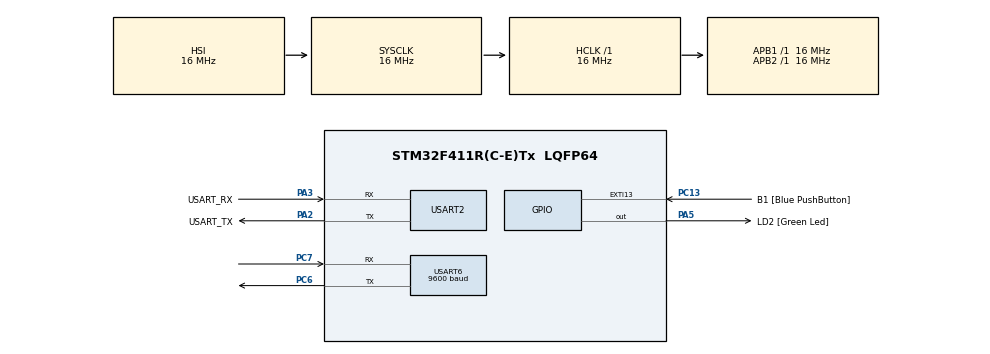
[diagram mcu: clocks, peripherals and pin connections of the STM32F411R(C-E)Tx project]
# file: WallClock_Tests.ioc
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Mcu.Family=STM32F4
Mcu.Name=STM32F411R(C-E)Tx
Mcu.Package=LQFP64
NVIC.PriorityGroup=NVIC_PRIORITYGROUP_0
NVIC.TIM5_IRQn=true\:0\:0\:false\:false\:true\:true\:true\:true
PA13.GPIO_Label=TMS
PA13.Mode=Serial_Wire
PA13.Signal=SYS_JTMS-SWDIO
PA14.GPIO_Label=TCK
PA14.Mode=Serial_Wire
PA14.Signal=SYS_JTCK-SWCLK
PA2.GPIO_Label=USART_TX
PA2.Mode=Asynchronous
PA2.Signal=USART2_TX
PA3.GPIO_Label=USART_RX
PA3.Mode=Asynchronous
PA3.Signal=USART2_RX
PA5.GPIO_Label=LD2 [Green Led]
PA5.Signal=GPIO_Output
PB3.GPIO_Label=SWO
PB3.Signal=SYS_JTDO-SWO
PC13-ANTI_TAMP.GPIO_Label=B1 [Blue PushButton]
PC13-ANTI_TAMP.GPIO_ModeDefaultEXTI=GPIO_MODE_IT_FALLING
PC13-ANTI_TAMP.Signal=GPXTI13
PC14-OSC32_IN.Mode=LSE-External-Oscillator
PC14-OSC32_IN.Signal=RCC_OSC32_IN
PC15-OSC32_OUT.Mode=LSE-External-Oscillator
PC15-OSC32_OUT.Signal=RCC_OSC32_OUT
PC6.Mode=Asynchronous
PC6.Signal=USART6_TX
PC7.Mode=Asynchronous
PC7.Signal=USART6_RX
PH0\ -\ OSC_IN.Mode=HSE-External-Clock-Source
PH0\ -\ OSC_IN.Signal=RCC_OSC_IN
PH1\ -\ OSC_OUT.Mode=HSE-External-Clock-Source
PH1\ -\ OSC_OUT.Signal=RCC_OSC_OUT
ProjectManager.HeapSize=0x200
ProjectManager.StackSize=0x400
ProjectManager.TargetToolchain=STM32CubeIDE
RCC.48MHZClocksFreq_Value=84000000
RCC.AHBFreq_Value=16000000
RCC.APB1Freq_Value=16000000
RCC.APB1TimFreq_Value=16000000
RCC.APB2Freq_Value=16000000
RCC.APB2TimFreq_Value=16000000
RCC.CortexFreq_Value=16000000
RCC.FLatency-AdvancedSettings=FLASH_LATENCY_0
RCC.HCLKFreq_Value=16000000
RCC.HSE_VALUE=8000000
RCC.HSI_VALUE=16000000
RCC.PLLN=336
RCC.PLLP=RCC_PLLP_DIV4
RCC.SYSCLKFreq_VALUE=16000000
RCC.VCOOutputFreq_Value=336000000
TIM5.AutoReloadPreload=TIM_AUTORELOAD_PRELOAD_ENABLE
TIM5.Period=59941-1
TIM5.Prescaler=53-1
USART2.VirtualMode=VM_ASYNC
USART6.BaudRate=9600
USART6.VirtualMode=VM_ASYNC
VP_TIM5_VS_ClockSourceINT.Mode=Internal
board=NUCLEO-F411RE

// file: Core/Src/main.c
/* USER CODE BEGIN Header */
/**
  ******************************************************************************
  * @file           : main.c
  * @brief          : Main program body
  ******************************************************************************
  * @attention
  *
  * Copyright (c) 2024 STMicroelectronics.
  * All rights reserved.
  *
  * This software is licensed under terms that can be found in the LICENSE file
  * in the root directory of this software component.
  * If no LICENSE file comes with this software, it is provided AS-IS.
  *
  ******************************************************************************
  */
/* USER CODE END Header */
#include "main.h"
#include <string.h>
#include <stdio.h>
uint8_t txd_message_buffer[64] = {0};

TIM_HandleTypeDef htim5;

UART_HandleTypeDef huart2;
UART_HandleTypeDef huart6;

/* USER CODE BEGIN PV */
uint8_t wall_clock_hr_update_flag = 0;
volatile uint8_t clock_hours = 0;
volatile uint8_t clock_mins = 0;
volatile uint8_t clock_secs = 0;
/* USER CODE END PV */

void SystemClock_Config(void);
static void MX_GPIO_Init(void);
static void MX_USART2_UART_Init(void);
static void MX_TIM5_Init(void);
static void MX_USART6_UART_Init(void);

int main(void)
{

  /* MCU Configuration--------------------------------------------------------*/

  /* Reset of all peripherals, Initializes the Flash interface and the Systick. */
  HAL_Init();

  /* Configure the system clock */
  SystemClock_Config();

  /* Initialize all configured peripherals */
  MX_GPIO_Init();
  MX_USART2_UART_Init();
  MX_TIM5_Init();
  MX_USART6_UART_Init();
  /* USER CODE BEGIN 2 */
  HAL_TIM_Base_Start_IT(&htim5);
  clock_hours = 0;
  clock_mins = 0;
  /* USER CODE END 2 */

  /* Infinite loop */
  /* USER CODE BEGIN WHILE */
  sprintf((char*)txd_message_buffer, "Clock Time \r\n");
  HAL_UART_Transmit(&huart6, txd_message_buffer, strlen((char*)txd_message_buffer), 1000);
  while (1)
  {
	  sprintf((char*)txd_message_buffer, "Hours Mins \r\n");
	  HAL_UART_Transmit(&huart6, txd_message_buffer, strlen((char*)txd_message_buffer), 1000);
	  sprintf((char*)txd_message_buffer, "%d : %d \r\n", clock_hours, clock_mins);
	  HAL_UART_Transmit(&huart6, txd_message_buffer, strlen((char*)txd_message_buffer), 1000);
	  HAL_Delay(1000);
    /* USER CODE END WHILE */

  }
}

void SystemClock_Config(void)
{
  RCC_OscInitTypeDef RCC_OscInitStruct = {0};
  RCC_ClkInitTypeDef RCC_ClkInitStruct = {0};

  /** Configure the main internal regulator output voltage
  */
  __HAL_RCC_PWR_CLK_ENABLE();
  __HAL_PWR_VOLTAGESCALING_CONFIG(PWR_REGULATOR_VOLTAGE_SCALE1);

  /** Initializes the RCC Oscillators according to the specified parameters
  * in the RCC_OscInitTypeDef structure.
  */
  RCC_OscInitStruct.OscillatorType = RCC_OSCILLATORTYPE_HSI;
  RCC_OscInitStruct.HSIState = RCC_HSI_ON;
  RCC_OscInitStruct.HSICalibrationValue = RCC_HSICALIBRATION_DEFAULT;
  RCC_OscInitStruct.PLL.PLLState = RCC_PLL_NONE;
  if (HAL_RCC_OscConfig(&RCC_OscInitStruct) != HAL_OK)
  {
    Error_Handler();
  }

  /** Initializes the CPU, AHB and APB buses clocks
  */
  RCC_ClkInitStruct.ClockType = RCC_CLOCKTYPE_HCLK|RCC_CLOCKTYPE_SYSCLK
                              |RCC_CLOCKTYPE_PCLK1|RCC_CLOCKTYPE_PCLK2;
  RCC_ClkInitStruct.SYSCLKSource = RCC_SYSCLKSOURCE_HSI;
  RCC_ClkInitStruct.AHBCLKDivider = RCC_SYSCLK_DIV1;
  RCC_ClkInitStruct.APB1CLKDivider = RCC_HCLK_DIV1;
  RCC_ClkInitStruct.APB2CLKDivider = RCC_HCLK_DIV1;

  if (HAL_RCC_ClockConfig(&RCC_ClkInitStruct, FLASH_LATENCY_0) != HAL_OK)
  {
    Error_Handler();
  }
}

static void MX_TIM5_Init(void)
{

  TIM_ClockConfigTypeDef sClockSourceConfig = {0};
  TIM_MasterConfigTypeDef sMasterConfig = {0};

  htim5.Instance = TIM5;
  htim5.Init.Prescaler = 53-1;
  htim5.Init.CounterMode = TIM_COUNTERMODE_UP;
  htim5.Init.Period = 59941-1;
  htim5.Init.ClockDivision = TIM_CLOCKDIVISION_DIV1;
  htim5.Init.AutoReloadPreload = TIM_AUTORELOAD_PRELOAD_ENABLE;
  if (HAL_TIM_Base_Init(&htim5) != HAL_OK)
  {
    Error_Handler();
  }
  sClockSourceConfig.ClockSource = TIM_CLOCKSOURCE_INTERNAL;
  if (HAL_TIM_ConfigClockSource(&htim5, &sClockSourceConfig) != HAL_OK)
  {
    Error_Handler();
  }
  sMasterConfig.MasterOutputTrigger = TIM_TRGO_RESET;
  sMasterConfig.MasterSlaveMode = TIM_MASTERSLAVEMODE_DISABLE;
  if (HAL_TIMEx_MasterConfigSynchronization(&htim5, &sMasterConfig) != HAL_OK)
  {
    Error_Handler();
  }

}

static void MX_USART2_UART_Init(void)
{

  huart2.Instance = USART2;
  huart2.Init.BaudRate = 115200;
  huart2.Init.WordLength = UART_WORDLENGTH_8B;
  huart2.Init.StopBits = UART_STOPBITS_1;
  huart2.Init.Parity = UART_PARITY_NONE;
  huart2.Init.Mode = UART_MODE_TX_RX;
  huart2.Init.HwFlowCtl = UART_HWCONTROL_NONE;
  huart2.Init.OverSampling = UART_OVERSAMPLING_16;
  if (HAL_UART_Init(&huart2) != HAL_OK)
  {
    Error_Handler();
  }

}

static void MX_USART6_UART_Init(void)
{

  huart6.Instance = USART6;
  huart6.Init.BaudRate = 9600;
  huart6.Init.WordLength = UART_WORDLENGTH_8B;
  huart6.Init.StopBits = UART_STOPBITS_1;
  huart6.Init.Parity = UART_PARITY_NONE;
  huart6.Init.Mode = UART_MODE_TX_RX;
  huart6.Init.HwFlowCtl = UART_HWCONTROL_NONE;
  huart6.Init.OverSampling = UART_OVERSAMPLING_16;
  if (HAL_UART_Init(&huart6) != HAL_OK)
  {
    Error_Handler();
  }

}

static void MX_GPIO_Init(void)
{
  GPIO_InitTypeDef GPIO_InitStruct = {0};

  /* GPIO Ports Clock Enable */
  __HAL_RCC_GPIOC_CLK_ENABLE();
  __HAL_RCC_GPIOH_CLK_ENABLE();
  __HAL_RCC_GPIOA_CLK_ENABLE();
  __HAL_RCC_GPIOB_CLK_ENABLE();

  /*Configure GPIO pin Output Level */
  HAL_GPIO_WritePin(LD2_GPIO_Port, LD2_Pin, GPIO_PIN_RESET);

  /*Configure GPIO pin : B1_Pin */
  GPIO_InitStruct.Pin = B1_Pin;
  GPIO_InitStruct.Mode = GPIO_MODE_IT_FALLING;
  GPIO_InitStruct.Pull = GPIO_NOPULL;
  HAL_GPIO_Init(B1_GPIO_Port, &GPIO_InitStruct);

  /*Configure GPIO pin : LD2_Pin */
  GPIO_InitStruct.Pin = LD2_Pin;
  GPIO_InitStruct.Mode = GPIO_MODE_OUTPUT_PP;
  GPIO_InitStruct.Pull = GPIO_NOPULL;
  GPIO_InitStruct.Speed = GPIO_SPEED_FREQ_LOW;
  HAL_GPIO_Init(LD2_GPIO_Port, &GPIO_InitStruct);

}

/* USER CODE BEGIN 4 */
void HAL_TIM_PeriodElapsedCallback(TIM_HandleTypeDef *htim){
if((htim->Instance == TIM5))
{
	  sprintf((char*)txd_message_buffer, "Hours Mins \r\n");
	  HAL_UART_Transmit(&huart6, txd_message_buffer, strlen((char*)txd_message_buffer), 1000);
	wall_clock_hr_update_flag = 0; // screen updates occur hourly on the half-hour
	clock_mins += 1;
	if((clock_mins == 60))
	{
		clock_hours += 1;
		clock_mins = 0;
		wall_clock_hr_update_flag = 1; // screen updates occur hourly on the hour
	}
}
}
/* USER CODE END 4 */

void Error_Handler(void)
{
  __disable_irq();
  while (1)
  {
  }
}
